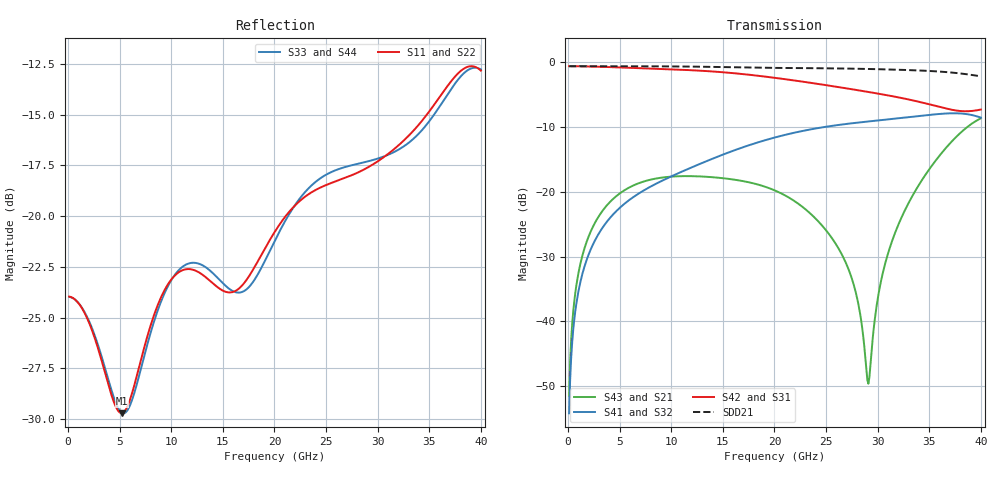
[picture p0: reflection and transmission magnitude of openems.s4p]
! E_s8_L1L8_p1000_oval_g2: pair L1→L8, pitch 1 mm, one oval antipad, 2 GND vias
! stackup: 8-layer 1.6 mm FR-4 (generic)
! ports: 1 P near, 2 N near, 3 P far, 4 N far
! openEMS 0.37.0, staircase, fine mesh (dfine 0.0175 mm), 1681680 cells
# Hz S RI R 50
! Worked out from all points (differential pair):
!   400 points, 100 MHz to 40 GHz, reference 50 ohm
!   strongest paths, dB at 100 MHz, 10.1 GHz, 20.1 GHz, 30.1 GHz, 40 GHz:
!     S42: -0.6, -1.1, -2.4, -4.8, -7.3
!     S31: -0.6, -1.1, -2.4, -4.8, -7.3
!     S41: -54.2, -17.5, -11.6, -9.0, -8.5
!     S32: -54.2, -17.5, -11.6, -9.0, -8.5
!     S43: -51.5, -17.6, -19.8, -35.6, -8.6
!     S21: -51.5, -17.6, -19.8, -35.6, -8.6
!   taken as a pair (ports 2,1 in; 4,3 out), SDD21 dB: -0.6, -0.6, -0.8, -1.0, -2.1
!   lowest |S11| = -29.7 dB at 5.2 GHz (marker M1), VSWR 1.07, Z = 53.4 - j0.275 ohm
!   |S11| at or under -10 dB: start of sweep to end of sweep
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1e8  -0.0633 0.00308  0.00126 0.00233  0.9356 -0.0363  0.000816 -0.00176
     0.00126 0.00233  -0.0633 0.00308  0.000816 -0.00176  0.9356 -0.0363
     0.9356 -0.0363  0.000822 -0.00176  -0.0632 0.00311  0.00127 0.00233
     0.000822 -0.00176  0.9356 -0.0363  0.00127 0.00233  -0.0632 0.00311
5.2e9  0.0326 -0.00257  0.0827 -0.0556  -0.3805 -0.8314  -0.0615 0.0474
       0.0827 -0.0556  0.0326 -0.00257  -0.0615 0.0474  -0.3805 -0.8314
       -0.3805 -0.8313  -0.0615 0.0474  0.0328 -0.000872  0.0829 -0.0553
       -0.0615 0.0474  -0.3805 -0.8313  0.0829 -0.0553  0.0328 -0.000872
1.18e10  -0.0492 0.0553  -0.1318 0.0108  -0.1649 0.8565  0.1514 -0.0175
         -0.1318 0.0108  -0.0492 0.0553  0.1514 -0.0175  -0.1649 0.8565
         -0.165 0.8565  0.1514 -0.0175  -0.0493 0.0586  -0.1319 0.00984
         0.1514 -0.0175  -0.165 0.8565  -0.1319 0.00984  -0.0493 0.0586
1.6e10  0.0648 -0.00605  0.0128 0.1239  0.8191 0.1168  -0.0421 -0.2036
        0.0128 0.1239  0.0648 -0.00605  -0.0421 -0.2036  0.8191 0.1168
        0.8188 0.1165  -0.0421 -0.2036  0.0653 -0.000505  0.0115 0.1241
        -0.0421 -0.2036  0.8188 0.1165  0.0115 0.1241  0.0653 -0.000505
2.02e10  -0.0713 -0.0596  0.101 -0.00245  0.0745 -0.7548  -0.2482 0.0944
         0.101 -0.00245  -0.0713 -0.0596  -0.2482 0.0944  0.0745 -0.7548
         0.0748 -0.7541  -0.248 0.0942  -0.0701 -0.0543  0.1012 -0.00126
         -0.248 0.0942  0.0748 -0.7541  0.1012 -0.00126  -0.0701 -0.0543
2.91e10  0.1243 0.0445  -0.00141 0.00297  0.0692 0.588  0.1878 -0.2954
         -0.00141 0.00297  0.1243 0.0445  0.1878 -0.2954  0.0692 0.588
         0.0698 0.5876  0.1874 -0.2954  0.1246 0.0557  -0.00147 0.00294
         0.1874 -0.2954  0.0698 0.5876  -0.00147 0.00294  0.1246 0.0557
4e10  -0.2203 0.0585  -0.2702 0.2524  -0.3183 -0.2938  0.3652 0.0858
      -0.2702 0.2524  -0.2203 0.0585  0.3652 0.0858  -0.3183 -0.2938
      -0.3171 -0.2944  0.3645 0.0868  -0.22 0.0659  -0.276 0.2468
      0.3645 0.0868  -0.3171 -0.2944  -0.276 0.2468  -0.22 0.0659
